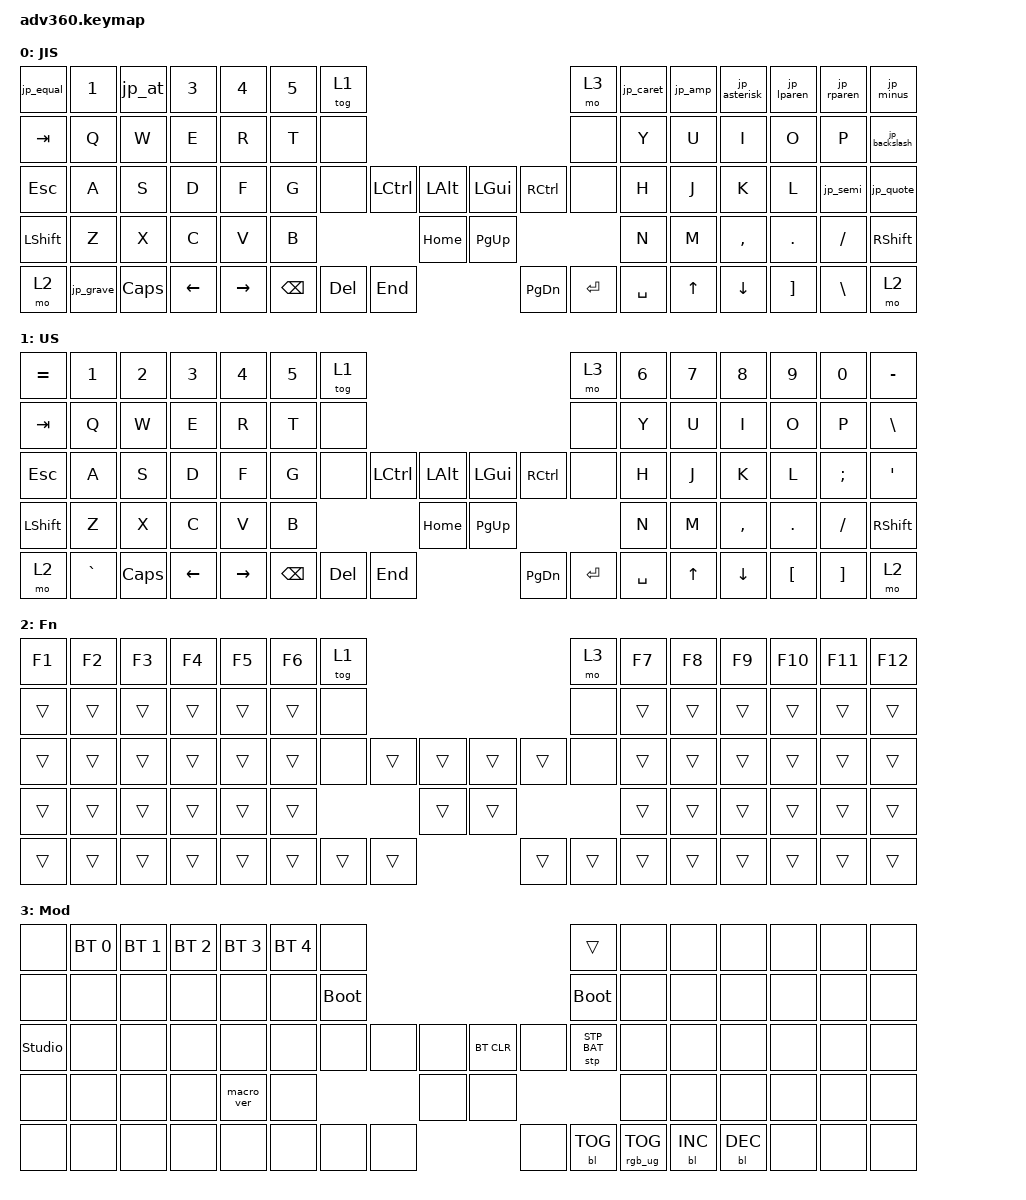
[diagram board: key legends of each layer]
#include <behaviors.dtsi>
#include <dt-bindings/zmk/keys.h>
#include <dt-bindings/zmk/bt.h>
#include <dt-bindings/zmk/rgb.h>
#include <dt-bindings/zmk/stp.h>
#include <dt-bindings/zmk/backlight.h>
#include <dt-bindings/zmk/pointing.h>

/ {
    behaviors {
      #include "macros.dtsi"
      #include "version.dtsi"

      hm: homerow_mods {
          compatible = "zmk,behavior-hold-tap";
          label = "HOMEROW_MODS";
          #binding-cells = <2>;
          tapping-term-ms = <200>;
          quick_tap_ms = <175>;
          flavor = "tap-preferred";
          bindings = <&kp>, <&kp>;
      };

      // ===== JIS設定のWindows向け mod-morph 定義 =====

      jp_at: jp_at {
          compatible = "zmk,behavior-mod-morph";
          label = "JP_AT";
          #binding-cells = <0>;
          bindings = <&kp N2>, <&kp LEFT_BRACKET>;
          mods = <(MOD_LSFT|MOD_RSFT)>;
      };
      jp_caret: jp_caret {
          compatible = "zmk,behavior-mod-morph";
          label = "JP_CARET";
          #binding-cells = <0>;
          bindings = <&kp N6>, <&kp EQUAL>;
          mods = <(MOD_LSFT|MOD_RSFT)>;
      };
      jp_amp: jp_amp {
          compatible = "zmk,behavior-mod-morph";
          label = "JP_AMP";
          #binding-cells = <0>;
          bindings = <&kp N7>, <&kp CARET>;
          mods = <(MOD_LSFT|MOD_RSFT)>;
      };
      jp_asterisk: jp_asterisk {
          compatible = "zmk,behavior-mod-morph";
          label = "JP_ASTERISK";
          #binding-cells = <0>;
          bindings = <&kp N8>, <&kp DOUBLE_QUOTES>;
          mods = <(MOD_LSFT|MOD_RSFT)>;
      };
      jp_lparen: jp_lparen {
          compatible = "zmk,behavior-mod-morph";
          label = "JP_LPAREN";
          #binding-cells = <0>;
          bindings = <&kp N9>, <&kp ASTERISK>;
          mods = <(MOD_LSFT|MOD_RSFT)>;
      };
      jp_rparen: jp_rparen {
          compatible = "zmk,behavior-mod-morph";
          label = "JP_RPAREN";
          #binding-cells = <0>;
          bindings = <&kp N0>, <&kp LEFT_PARENTHESIS>;
          mods = <(MOD_LSFT|MOD_RSFT)>;
      };
      jp_equal: jp_equal {
          compatible = "zmk,behavior-mod-morph";
          label = "JP_EQUAL";
          #binding-cells = <0>;
          bindings = <&kp UNDERSCORE>, <&kp COLON>;
          mods = <(MOD_LSFT|MOD_RSFT)>;
      };
      jp_minus: jp_minus {
          compatible = "zmk,behavior-mod-morph";
          label = "JP_MINUS";
          #binding-cells = <0>;
          bindings = <&kp MINUS>, <&kp LS(INT_RO)>;   // - / _
          mods = <(MOD_LSFT|MOD_RSFT)>;
      };
      jp_semi: jp_semi {
          compatible = "zmk,behavior-mod-morph";
          label = "JP_SEMI";
          #binding-cells = <0>;
          bindings = <&kp SEMICOLON>, <&kp SINGLE_QUOTE>;
          mods = <(MOD_LSFT|MOD_RSFT)>;
      };
      jp_quote: jp_quote {
          compatible = "zmk,behavior-mod-morph";
          label = "JP_QUOTE";
          #binding-cells = <0>;
          bindings = <&kp AMPERSAND>, <&kp AT>;
          mods = <(MOD_LSFT|MOD_RSFT)>;
      };
      jp_backslash: jp_backslash {
          compatible = "zmk,behavior-mod-morph";
          label = "JP_BACKSLASH";
          #binding-cells = <0>;
          bindings = <&kp INT_YEN>, <&kp LS(INT_YEN)>;  // \ / |
          mods = <(MOD_LSFT|MOD_RSFT)>;
      };
      jp_grave: jp_grave {
          compatible = "zmk,behavior-mod-morph";
          label = "JP_GRAVE";
          #binding-cells = <0>;
          bindings = <&kp LEFT_BRACE>, <&kp PLUS>;
          mods = <(MOD_LSFT|MOD_RSFT)>;
      };
    };

  keymap {
    compatible = "zmk,keymap";

    // レイヤー0: 社用PC用（JIS補正あり）。kpキーでレイヤー1(US)へトグル
    default_layer {
      display-name = "JIS";
      bindings = <
        &jp_equal &kp N1     &jp_at   &kp N3   &kp N4     &kp N5 &tog 1                                                           &mo 3 &jp_caret &jp_amp &jp_asterisk &jp_lparen &jp_rparen &jp_minus
        &kp TAB   &kp Q      &kp W    &kp E    &kp R      &kp T  &none                                                            &none &kp Y     &kp U   &kp I        &kp O      &kp P      &jp_backslash
        &kp ESC   &kp A      &kp S    &kp D    &kp F      &kp G  &none           &kp LCTRL &kp LALT &kp LGUI  &kp RCTRL           &none &kp H     &kp J   &kp K        &kp L      &jp_semi   &jp_quote
        &kp LSHFT &kp Z      &kp X    &kp C    &kp V      &kp B                            &kp HOME &kp PG_UP                           &kp N     &kp M   &kp COMMA    &kp DOT    &kp FSLH   &kp RSHFT
        &mo 2     &jp_grave  &kp CAPS &kp LEFT &kp RIGHT                &kp BSPC &kp DEL   &kp END  &kp PG_DN &kp ENTER &kp SPACE              &kp UP    &kp DOWN      &kp RBKT   &kp BSLH   &mo 2
      >;
    };

    // レイヤー1: 個人PC用（US配列・補正なし）。kpキーでレイヤー0(JIS)へ戻る
    keypad {
      display-name = "US";
      bindings = <
        &kp EQUAL &kp N1    &kp N2   &kp N3   &kp N4     &kp N5 &tog 1                                                           &mo 3 &kp N6 &kp N7 &kp N8    &kp N9   &kp N0   &kp MINUS
        &kp TAB   &kp Q     &kp W    &kp E    &kp R      &kp T  &none                                                            &none &kp Y  &kp U  &kp I     &kp O    &kp P    &kp BSLH
        &kp ESC   &kp A     &kp S    &kp D    &kp F      &kp G  &none           &kp LCTRL &kp LALT &kp LGUI  &kp RCTRL           &none &kp H  &kp J  &kp K     &kp L    &kp SEMI &kp SQT
        &kp LSHFT &kp Z     &kp X    &kp C    &kp V      &kp B                            &kp HOME &kp PG_UP                           &kp N  &kp M  &kp COMMA &kp DOT  &kp FSLH &kp RSHFT
        &mo 2     &kp GRAVE &kp CAPS &kp LEFT &kp RIGHT                &kp BSPC &kp DEL   &kp END  &kp PG_DN &kp ENTER &kp SPACE              &kp UP &kp DOWN  &kp LBKT &kp RBKT &mo 2
      >;
    };

    // レイヤー2: Fn
    fn {
      display-name = "Fn";
      bindings = <
        &kp F1 &kp F2 &kp F3 &kp F4 &kp F5 &kp F6 &tog 1                                           &mo 3 &kp F7 &kp F8 &kp F9 &kp F10 &kp F11 &kp F12
        &trans &trans &trans &trans &trans &trans  &none                                            &none &trans &trans &trans &trans  &trans  &trans
        &trans &trans &trans &trans &trans &trans  &none        &trans &trans &trans &trans         &none &trans &trans &trans &trans  &trans  &trans
        &trans &trans &trans &trans &trans &trans                      &trans &trans                      &trans &trans &trans &trans  &trans  &trans
        &trans &trans &trans &trans &trans               &trans &trans &trans &trans &trans &trans               &trans &trans &trans  &trans  &trans
      >;
    };

    // レイヤー3: Mod（BT切替・設定）
    mod {
      display-name = "Mod";
      bindings = <
        &none &bt BT_SEL 0 &bt BT_SEL 1 &bt BT_SEL 2 &bt BT_SEL 3 &bt BT_SEL 4 &none                                                                     &trans                 &none        &none        &none        &none &none &none
        &none &none        &none        &none        &none        &none        &bootloader                                                               &bootloader            &none        &none        &none        &none &none &none
        &studio_unlock &none        &none        &none        &none        &none        &none                   &none &none &bt BT_CLR &none                      &stp STP_BAT &none        &none        &none        &none &none &none
        &none &none        &none        &none        &macro_ver   &none                                      &none &none                                                        &none        &none        &none        &none &none &none
        &none &none        &none        &none        &none                                       &none &none &none &none      &bl BL_TOG &rgb_ug RGB_TOG                                     &bl BL_INC   &bl BL_DEC   &none &none &none
      >;
    };

    extra1 {
      display-name = "Red";
      status = "reserved";
    };
    extra2 {
      display-name = "Purple";
      status = "reserved";
    };
    extra3 {
      display-name = "Cyan";
      status = "reserved";
    };
    extra4 {
      display-name = "Yellow";
      status = "reserved";
    };
  };
};
